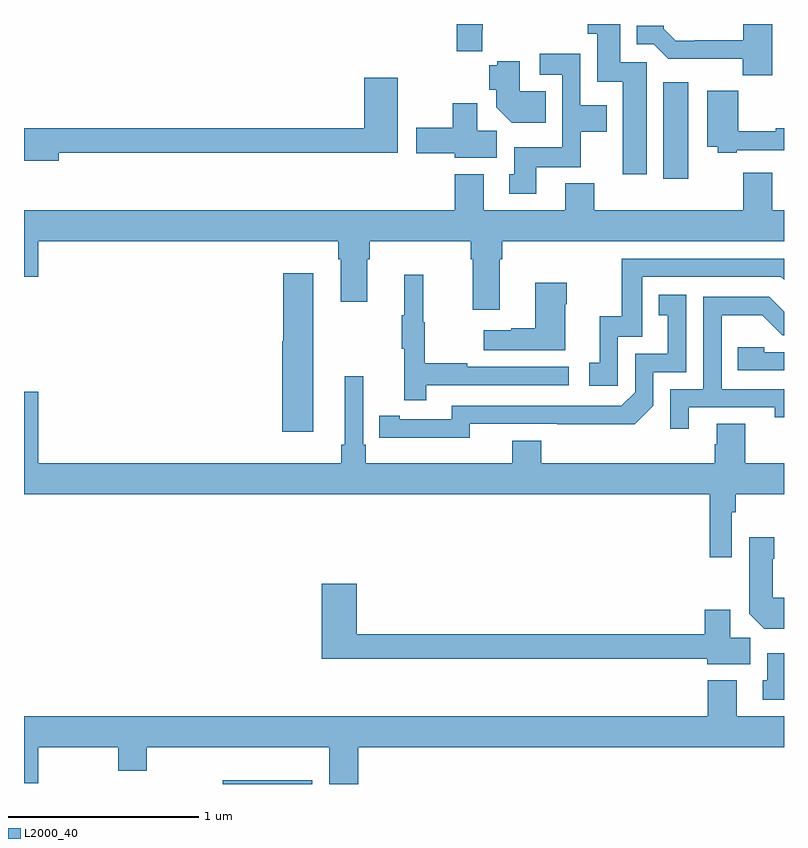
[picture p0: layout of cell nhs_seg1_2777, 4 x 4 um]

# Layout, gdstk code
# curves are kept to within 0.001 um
import gdstk
lib = gdstk.Library(unit=1e-6, precision=1e-09)
def R(c, l, rs):  # rectangles x0, y0, x1, y1
    for r in rs: c.add(gdstk.rectangle(r[:2], r[2:], *l))
def P(c, l, *ps):  # polygons
    for p in ps: c.add(gdstk.Polygon(p, *l))
L2000_40 = (2000, 40)

nhs_seg1_2777 = lib.new_cell('nhs_seg1_2777')
R(nhs_seg1_2777, L2000_40, [(262.047,558.199,262.516,558.22), (264.365,561.384,264.496,561.892), (264.509,562.198,264.649,562.199)])
P(nhs_seg1_2777, L2000_40, [(264.938,562.199),(264.785,562.199),(264.785,562.113),(264.529,562.113),(264.529,562.11),(264.43,562.11),(264.366,562.174),(264.366,562.189),(264.224,562.189),(264.224,562.092),(264.315,562.092),(264.391,562.016),(264.783,562.016),(264.783,561.929),(264.938,561.929)],
  [(263.413,562.168),(263.414,562.168),(263.414,562.199),(263.278,562.199),(263.278,562.056),(263.413,562.056)],
  [(264.277,561.999),(264.139,561.999),(264.139,562.199),(263.966,562.199),(263.966,562.147),(264.017,562.147),(264.017,561.896),(264.152,561.896),(264.152,561.408),(264.277,561.408)],
  [(263.695,561.446),(263.931,561.446),(263.931,561.632),(264.067,561.632),(264.067,561.772),(263.928,561.772),(263.928,562.042),(263.715,562.042),(263.715,561.933),(263.832,561.933),(263.832,561.55),(263.579,561.55),(263.579,561.408),(263.555,561.408),(263.555,561.306),(263.695,561.306)],
  [(263.747,561.844),(263.608,561.844),(263.608,562.002),(263.49,562.002),(263.49,561.982),(263.448,561.982),(263.448,561.854),(263.486,561.854),(263.486,561.761),(263.567,561.68),(263.747,561.68)],
  [(261.184,561.522),(262.968,561.522),(262.968,561.916),(262.79,561.916),(262.79,561.65),(261,561.65),(261,561.479),(261.184,561.479)],
  [(264.751,561.534),(265,561.534),(265,561.65),(264.956,561.65),(264.956,561.635),(264.758,561.635),(264.758,561.847),(264.596,561.847),(264.596,561.554),(264.651,561.554),(264.651,561.522),(264.751,561.522)],
  [(263.488,561.638),(263.386,561.638),(263.386,561.781),(263.257,561.781),(263.257,561.653),(263.064,561.653),(263.064,561.518),(263.268,561.518),(263.268,561.494),(263.488,561.494)],
  [(263.503,560.96),(263.516,560.96),(263.516,561.056),(265,561.056),(265,561.22),(264.938,561.22),(264.938,561.415),(264.785,561.415),(264.785,561.22),(264.002,561.22),(264.002,561.361),(263.849,561.361),(263.849,561.22),(263.419,561.22),(263.419,561.409),(263.267,561.409),(263.267,561.22),(261,561.22),(261,560.868),(261.076,560.868),(261.076,561.056),(262.655,561.056),(262.655,560.96),(262.667,560.96),(262.667,560.736),(262.807,560.736),(262.807,560.96),(262.82,560.96),(262.82,561.056),(263.351,561.056),(263.351,560.96),(263.363,560.96),(263.363,560.694),(263.503,560.694)],
  [(264.126,560.553),(264.255,560.553),(264.255,560.868),(264.984,560.868),(265,560.852),(265,560.964),(264.147,560.964),(264.147,560.662),(264.029,560.662),(264.029,560.415),(263.976,560.415),(263.976,560.295),(264.126,560.295)],
  [(262.522,560.887),(262.364,560.887),(262.364,560.529),(262.358,560.529),(262.358,560.052),(262.522,560.052)],
  [(263.117,560.298),(263.866,560.298),(263.866,560.394),(263.333,560.394),(263.333,560.414),(263.11,560.414),(263.11,560.628),(263.102,560.628),(263.102,560.878),(263,560.878),(263,560.665),(262.989,560.665),(262.989,560.491),(263,560.491),(263,560.22),(263.117,560.22)],
  [(263.848,560.723),(263.856,560.723),(263.856,560.836),(263.69,560.836),(263.69,560.597),(263.564,560.597),(263.564,560.587),(263.421,560.587),(263.421,560.483),(263.848,560.483)],
  [(263.346,560.094),(264.214,560.093),(264.312,560.19),(264.312,560.367),(264.486,560.367),(264.486,560.773),(264.34,560.773),(264.34,560.667),(264.389,560.667),(264.389,560.463),(264.216,560.463),(264.216,560.262),(264.144,560.19),(263.25,560.19),(263.25,560.118),(262.978,560.118),(262.978,560.138),(262.87,560.138),(262.87,560.022),(263.346,560.021)],
  [(264.499,560.181),(264.95,560.181),(264.95,560.13),(265,560.13),(265,560.277),(264.672,560.277),(264.672,560.666),(264.886,560.666),(264.99,560.562),(265,560.562),(265,560.685),(264.922,560.763),(264.576,560.763),(264.576,560.277),(264.402,560.277),(264.402,560.07),(264.499,560.07)],
  [(265,560.472),(264.897,560.472),(264.897,560.499),(264.757,560.499),(264.757,560.376),(265,560.376)],
  [(264.726,559.628),(264.746,559.628),(264.746,559.724),(265,559.724),(265,559.888),(264.795,559.888),(264.795,560.096),(264.647,560.096),(264.647,559.986),(264.635,559.986),(264.635,559.888),(263.723,559.888),(263.723,560.005),(263.57,560.005),(263.57,559.888),(262.799,559.888),(262.799,559.984),(262.785,559.984),(262.785,560.344),(262.688,560.344),(262.688,559.984),(262.669,559.984),(262.669,559.888),(261.076,559.888),(261.076,560.263),(261,560.263),(261,559.724),(264.61,559.724),(264.61,559.392),(264.726,559.392)],
  [(265,559.18),(264.94,559.18),(264.94,559.385),(264.948,559.385),(264.948,559.498),(264.818,559.498),(264.818,559.094),(264.896,559.016),(265,559.016)],
  [(264.823,558.968),(264.718,558.968),(264.718,559.117),(264.584,559.117),(264.584,558.986),(262.751,558.986),(262.751,559.252),(262.568,559.252),(262.568,558.858),(264.596,558.858),(264.596,558.83),(264.823,558.83)],
  [(265,558.886),(264.911,558.886),(264.911,558.744),(264.887,558.744),(264.887,558.642),(265,558.642)],
  [(262.76,558.392),(265,558.392),(265,558.556),(264.751,558.556),(264.751,558.745),(264.599,558.745),(264.599,558.556),(261,558.556),(261,558.204),(261.076,558.204),(261.076,558.392),(261.496,558.392),(261.496,558.268),(261.647,558.268),(261.647,558.392),(262.607,558.392),(262.607,558.199),(262.76,558.199)])

lib.write_gds('nhs_seg1_2777.gds')
